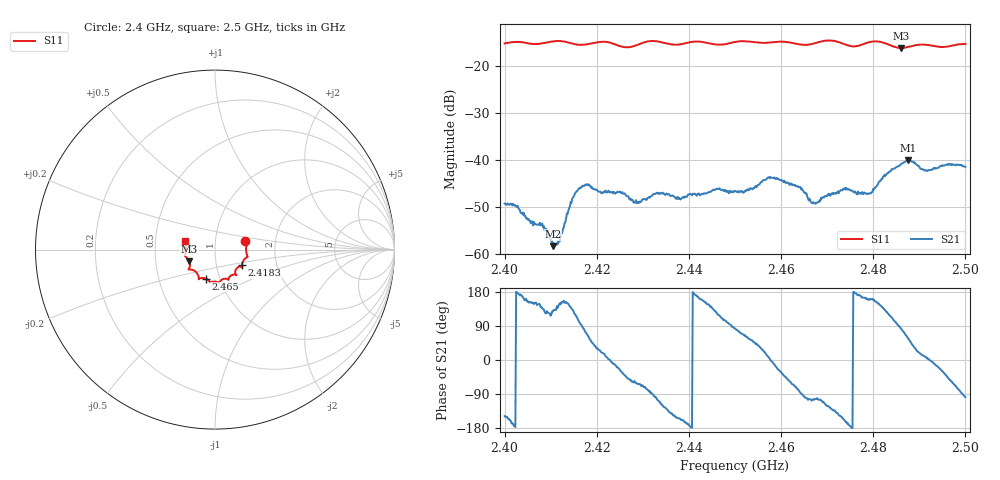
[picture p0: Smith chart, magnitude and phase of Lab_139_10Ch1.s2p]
# Hz S RI R 50
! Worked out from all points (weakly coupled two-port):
!   601 points, 2.4 GHz to 2.5 GHz, reference 50 ohm
!   highest |S21| = -40.06 dB at 2.4875 GHz (marker M1); lowest = -58.4 dB at 2.4105 GHz (marker M2)
!   lowest |S11| = -16.1 dB at 2.486 GHz (marker M3), VSWR 1.37, Z = 37.2 - j4.97 ohm
!   |S11| at or under -10 dB: start of sweep to end of sweep
!   S12 and S22 are empty: the file has one direction only
!   S11 on the Smith chart (normalised r, x): 2.4 GHz: 1.40, +0.14; 2.4183 GHz: 1.33, -0.24; 2.465 GHz: 0.86, -0.28; 2.5 GHz: 0.71, +0.07
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2.4e9  0.169 0.0471  -0.0029 -0.00182  0 0  0 0
2.408e9  0.1746 -0.0157  -0.00155 0.00133  0 0  0 0
2.4105e9  0.181 -0.0364  -0.000744 0.000941  0 0  0 0
2.412e9  0.1819 -0.0407  -0.00117 0.000685  0 0  0 0
2.414833e9  0.1664 -0.0507  -0.00264 0.00299  0 0  0 0
2.416667e9  0.155 -0.0683  -0.000208 0.0051  0 0  0 0
2.418333e9  0.1502 -0.0872  0.00288 0.00464  0 0  0 0
2.4285e9  0.1128 -0.1236  0.00183 -0.00324  0 0  0 0
2.433333e9  0.1176 -0.1411  -0.00129 -0.00428  0 0  0 0
2.438167e9  0.082 -0.1509  -0.00345 -0.00155  0 0  0 0
2.446167e9  0.0519 -0.1627  -0.00255 0.00418  0 0  0 0
2.45e9  0.0264 -0.18  0.000548 0.00465  0 0  0 0
2.457667e9  -0.0149 -0.1789  0.00659 -3.2e-05  0 0  0 0
2.465e9  -0.0525 -0.1613  -0.000485 -0.00447  0 0  0 0
2.466667e9  -0.0711 -0.1575  -0.00103 -0.0033  0 0  0 0
2.473667e9  -0.0928 -0.1458  -0.00449 -0.00185  0 0  0 0
2.479333e9  -0.1444 -0.1109  -0.00418 0.00144  0 0  0 0
2.483333e9  -0.141 -0.0962  -0.00385 0.00633  0 0  0 0
2.486e9  -0.1425 -0.0651  0.00103 0.00898  0 0  0 0
2.4875e9  -0.1523 -0.0506  0.00516 0.00848  0 0  0 0
2.4915e9  -0.1667 -0.0318  0.00771 0.00102  0 0  0 0
2.5e9  -0.1665 0.0471  -0.00118 -0.00833  0 0  0 0
